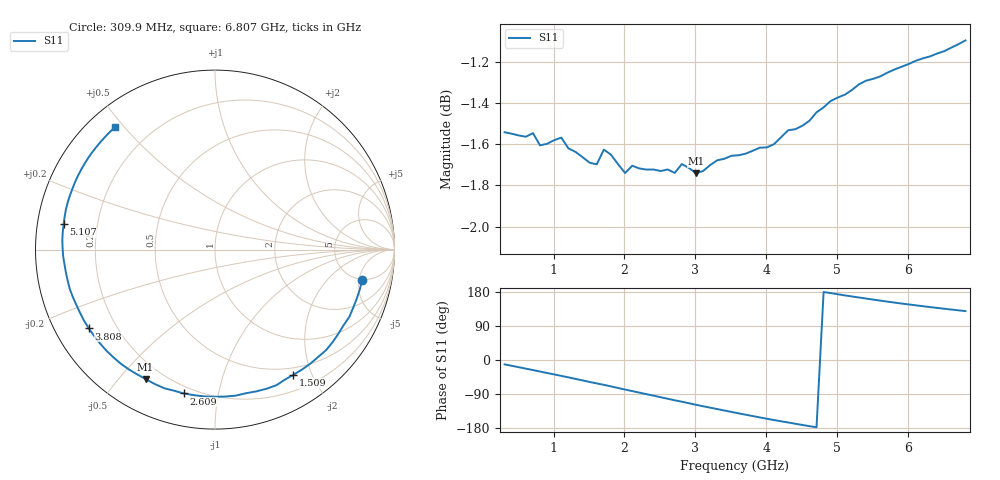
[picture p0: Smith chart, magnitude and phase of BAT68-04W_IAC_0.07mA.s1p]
! Infineon Technologies  Discrete & RF Semiconductors
! BAT68-04W
! IAC = 0.07 mA
! One-Port S-Parameters
# Hz  S  MA  R  50
!f  S11
!Hz  Mag  Ang
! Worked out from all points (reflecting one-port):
!   66 points, 309.9 MHz to 6.807 GHz, reference 50 ohm
!   lowest |S11| = -1.7 dB at 3.009 GHz (marker M1), VSWR 10.02, Z = 6.76 - j29.5 ohm
!   phase of S11 starts at -12 deg and turns -219 deg over the sweep
!   S11 on the Smith chart (normalised r, x): 309.9 MHz: 4.96, -5.56; 1.509 GHz: 0.40, -1.74; 2.609 GHz: 0.16, -0.79; 3.808 GHz: 0.10, -0.28; 5.107 GHz: 0.08, +0.08; 6.807 GHz: 0.08, +0.47
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3.0985e8  0.8374 -11.5
5.0975e8  0.8359 -19.0
7.0965e8  0.837 -26.6
1.0095e9  0.8337 -38.1
1.2094e9  0.8299 -45.8
1.50925e9  0.8232 -57.9
1.70915e9  0.8293 -65.5
1.8091e9  0.827 -69.6
2.009e9  0.8185 -78.0
2.10895e9  0.8219 -82.0
2.30885e9  0.8201 -90.1
2.6087e9  0.8201 -102.2
2.8086e9  0.8226 -110.1
3.0085e9  0.8184 -118.2
3.30835e9  0.8244 -129.5
3.6082e9  0.8267 -140.7
3.8081e9  0.8288 -148.0
4.10795e9  0.8318 -158.5
4.4078e9  0.8388 -168.2
4.70765e9  0.8468 -177.5
4.90755e9  0.8522 176.5
5.10745e9  0.8552 170.5
5.2074e9  0.8575 167.7
5.4073e9  0.8619 162.1
5.6072e9  0.864 156.6
6.007e9  0.87 146.6
6.4068e9  0.8751 137.5
6.8066e9  0.8815 129.1
